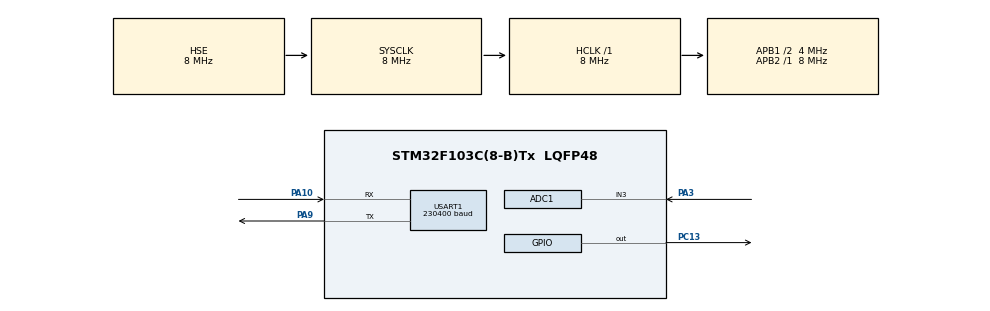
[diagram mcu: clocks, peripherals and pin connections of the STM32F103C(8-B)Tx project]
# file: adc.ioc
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ADC1.Channel-0\#ChannelRegularConversion=ADC_CHANNEL_3
ADC1.ContinuousConvMode=DISABLE
ADC1.ExternalTrigConv=ADC_EXTERNALTRIGCONV_T3_TRGO
ADC1.NbrOfConversion=1
ADC1.NbrOfConversionFlag=1
ADC1.Rank-0\#ChannelRegularConversion=1
ADC1.SamplingTime-0\#ChannelRegularConversion=ADC_SAMPLETIME_71CYCLES_5
ADC1.master=1
Mcu.Family=STM32F1
Mcu.Name=STM32F103C(8-B)Tx
Mcu.Package=LQFP48
NVIC.ADC1_2_IRQn=true\:0\:0\:false\:false\:true\:true\:true\:true
NVIC.PriorityGroup=NVIC_PRIORITYGROUP_4
PA10.Mode=Asynchronous
PA10.Signal=USART1_RX
PA13.Mode=Serial_Wire
PA13.Signal=SYS_JTMS-SWDIO
PA14.Mode=Serial_Wire
PA14.Signal=SYS_JTCK-SWCLK
PA3.Signal=ADCx_IN3
PA9.Mode=Asynchronous
PA9.Signal=USART1_TX
PC13-TAMPER-RTC.Signal=GPIO_Output
PD0-OSC_IN.Mode=HSE-External-Oscillator
PD0-OSC_IN.Signal=RCC_OSC_IN
PD1-OSC_OUT.Mode=HSE-External-Oscillator
PD1-OSC_OUT.Signal=RCC_OSC_OUT
ProjectManager.HeapSize=0x200
ProjectManager.StackSize=0x400
ProjectManager.TargetToolchain=STM32CubeIDE
RCC.ADCPresc=RCC_ADCPCLK2_DIV4
RCC.AHBFreq_Value=8000000
RCC.APB1CLKDivider=RCC_HCLK_DIV2
RCC.APB1Freq_Value=4000000
RCC.APB1TimFreq_Value=8000000
RCC.APB2Freq_Value=8000000
RCC.APB2TimFreq_Value=8000000
RCC.HCLKFreq_Value=8000000
RCC.PLLMUL=RCC_PLL_MUL6
RCC.PLLSourceVirtual=RCC_PLLSOURCE_HSE
RCC.SYSCLKFreq_VALUE=8000000
RCC.SYSCLKSource=RCC_SYSCLKSOURCE_HSE
RCC.USBFreq_Value=32000000
RCC.USBPrescaler=RCC_USBCLKSOURCE_PLL_DIV1_5
SH.ADCx_IN3.0=ADC1_IN3,IN3
TIM3.ClockDivision=TIM_CLOCKDIVISION_DIV1
TIM3.Period=1
TIM3.Prescaler=4000
TIM3.TIM_MasterOutputTrigger=TIM_TRGO_UPDATE
USART1.BaudRate=230400
USART1.VirtualMode=VM_ASYNC
VP_TIM3_VS_ClockSourceINT.Mode=Internal
board=custom

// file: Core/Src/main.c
/* USER CODE BEGIN Header */
/**
  ******************************************************************************
  * @file           : main.c
  * @brief          : Main program body
  ******************************************************************************
  * @attention
  *
  * Copyright (c) 2024 STMicroelectronics.
  * All rights reserved.
  *
  * This software is licensed under terms that can be found in the LICENSE file
  * in the root directory of this software component.
  * If no LICENSE file comes with this software, it is provided AS-IS.
  *
  ******************************************************************************
  */
/* USER CODE END Header */
#include "main.h"

/* USER CODE BEGIN Includes */
#include <string.h>
#include <stdio.h>
/* USER CODE END Includes */

ADC_HandleTypeDef hadc1;

TIM_HandleTypeDef htim3;

UART_HandleTypeDef huart1;

/* USER CODE BEGIN PV */
RCC_PeriphCLKInitTypeDef PeriphClkInit = {0};
/* USER CODE END PV */

void SystemClock_Config(void);
static void MX_GPIO_Init(void);
static void MX_ADC1_Init(void);
static void MX_USART1_UART_Init(void);
static void MX_TIM3_Init(void);

/* USER CODE BEGIN 0 */
uint8_t control_flag = 0;
uint16_t sample[400];
int size = sizeof(sample) / sizeof(uint16_t);
int iter = 0;
int disc_prescaler = 4000;
uint32_t adc_prescaler = 1;
/* USER CODE END 0 */

int main(void)
{

  /* MCU Configuration--------------------------------------------------------*/

  /* Reset of all peripherals, Initializes the Flash interface and the Systick. */
  HAL_Init();

  /* USER CODE BEGIN Init */
  char msg[20];
  char send_sig = 0x55;
  uint8_t received_sig;
  /* USER CODE END Init */

  /* Configure the system clock */
  SystemClock_Config();

  /* Initialize all configured peripherals */
  MX_GPIO_Init();
  MX_ADC1_Init();
  MX_USART1_UART_Init();
  MX_TIM3_Init();
  /* USER CODE BEGIN 2 */
  HAL_RCCEx_GetPeriphCLKConfig(&PeriphClkInit);

  	   // Определение предделителя из структуры PeriphClkInit
  	switch (PeriphClkInit.AdcClockSelection) {
  	   case RCC_ADCPCLK2_DIV2:
  		   adc_prescaler = 2;
  		   break;
  	   case RCC_ADCPCLK2_DIV4:
  		   adc_prescaler = 4;
  		   break;
  	   case RCC_ADCPCLK2_DIV6:
  		   adc_prescaler = 6;
  		   break;
  	   case RCC_ADCPCLK2_DIV8:
  		   adc_prescaler = 8;
  		   break;
  	   default:
  		   // Неизвестный предделитель
  		   break;
  	}

  HAL_TIM_Base_Start(&htim3);
  HAL_ADC_Start_IT(&hadc1);
  /* USER CODE END 2 */

  /* Infinite loop */
  /* USER CODE BEGIN WHILE */
  while (1)
  {
	  HAL_UART_Receive(&huart1, &received_sig, 1, HAL_MAX_DELAY);

	  if (control_flag == 1){
		  if (received_sig == 0xAA){
			  sprintf(msg, "%c\n", send_sig);
			  HAL_UART_Transmit(&huart1, (uint8_t*) msg, strlen(msg), HAL_MAX_DELAY);
			  sprintf(msg, "%lu\n", HAL_RCC_GetPCLK2Freq() / adc_prescaler / disc_prescaler);
			  HAL_UART_Transmit(&huart1, (uint8_t*) msg, strlen(msg), HAL_MAX_DELAY);
			  sprintf(msg, "%d\n", size);
			  HAL_UART_Transmit(&huart1, (uint8_t*) msg, strlen(msg), HAL_MAX_DELAY);
			  for (int i = 0; i < sizeof(sample) / sizeof(uint16_t); ++i){
				  sprintf(msg, "%d ", sample[i]);
				  HAL_UART_Transmit(&huart1, (uint8_t*) msg, strlen(msg), HAL_MAX_DELAY);
			  }
			  sprintf(msg, "\n");
			  HAL_UART_Transmit(&huart1, (uint8_t*) msg, strlen(msg), HAL_MAX_DELAY);
		  }

		  else if (received_sig == 0xCA){
			  disc_prescaler = 8000;
			  MX_TIM3_Init();
		  }

		  else if (received_sig == 0xCB){
			  disc_prescaler = 4000;
			  MX_TIM3_Init();
		  }
		  else if (received_sig == 0xCC){
			  disc_prescaler = 2000;
			  MX_TIM3_Init();
		  }
		  else if (received_sig == 0xCD){
			  disc_prescaler = 1000;
			  MX_TIM3_Init();
		  }
		  else if (received_sig == 0xCE){
			  disc_prescaler = 500;
			  MX_TIM3_Init();
		  }

		  control_flag = 0;
	  }

    /* USER CODE END WHILE */

  }
}

void SystemClock_Config(void)
{
  RCC_OscInitTypeDef RCC_OscInitStruct = {0};
  RCC_ClkInitTypeDef RCC_ClkInitStruct = {0};
  RCC_PeriphCLKInitTypeDef PeriphClkInit = {0};

  /** Initializes the RCC Oscillators according to the specified parameters
  * in the RCC_OscInitTypeDef structure.
  */
  RCC_OscInitStruct.OscillatorType = RCC_OSCILLATORTYPE_HSE;
  RCC_OscInitStruct.HSEState = RCC_HSE_ON;
  RCC_OscInitStruct.PLL.PLLState = RCC_PLL_NONE;
  if (HAL_RCC_OscConfig(&RCC_OscInitStruct) != HAL_OK)
  {
    Error_Handler();
  }

  /** Initializes the CPU, AHB and APB buses clocks
  */
  RCC_ClkInitStruct.ClockType = RCC_CLOCKTYPE_HCLK|RCC_CLOCKTYPE_SYSCLK
                              |RCC_CLOCKTYPE_PCLK1|RCC_CLOCKTYPE_PCLK2;
  RCC_ClkInitStruct.SYSCLKSource = RCC_SYSCLKSOURCE_HSE;
  RCC_ClkInitStruct.AHBCLKDivider = RCC_SYSCLK_DIV1;
  RCC_ClkInitStruct.APB1CLKDivider = RCC_HCLK_DIV2;
  RCC_ClkInitStruct.APB2CLKDivider = RCC_HCLK_DIV1;

  if (HAL_RCC_ClockConfig(&RCC_ClkInitStruct, FLASH_LATENCY_0) != HAL_OK)
  {
    Error_Handler();
  }
  PeriphClkInit.PeriphClockSelection = RCC_PERIPHCLK_ADC;
  PeriphClkInit.AdcClockSelection = RCC_ADCPCLK2_DIV4;
  if (HAL_RCCEx_PeriphCLKConfig(&PeriphClkInit) != HAL_OK)
  {
    Error_Handler();
  }
}

static void MX_ADC1_Init(void)
{

  ADC_ChannelConfTypeDef sConfig = {0};

  /** Common config
  */
  hadc1.Instance = ADC1;
  hadc1.Init.ScanConvMode = ADC_SCAN_DISABLE;
  hadc1.Init.ContinuousConvMode = DISABLE;
  hadc1.Init.DiscontinuousConvMode = DISABLE;
  hadc1.Init.ExternalTrigConv = ADC_EXTERNALTRIGCONV_T3_TRGO;
  hadc1.Init.DataAlign = ADC_DATAALIGN_RIGHT;
  hadc1.Init.NbrOfConversion = 1;
  if (HAL_ADC_Init(&hadc1) != HAL_OK)
  {
    Error_Handler();
  }

  /** Configure Regular Channel
  */
  sConfig.Channel = ADC_CHANNEL_3;
  sConfig.Rank = ADC_REGULAR_RANK_1;
  sConfig.SamplingTime = ADC_SAMPLETIME_71CYCLES_5;
  if (HAL_ADC_ConfigChannel(&hadc1, &sConfig) != HAL_OK)
  {
    Error_Handler();
  }

}

static void MX_TIM3_Init(void)
{

  TIM_ClockConfigTypeDef sClockSourceConfig = {0};
  TIM_MasterConfigTypeDef sMasterConfig = {0};

  htim3.Instance = TIM3;
  htim3.Init.Prescaler = 4000;
  htim3.Init.CounterMode = TIM_COUNTERMODE_UP;
  htim3.Init.Period = 1;
  htim3.Init.ClockDivision = TIM_CLOCKDIVISION_DIV1;
  htim3.Init.AutoReloadPreload = TIM_AUTORELOAD_PRELOAD_DISABLE;
  if (HAL_TIM_Base_Init(&htim3) != HAL_OK)
  {
    Error_Handler();
  }
  sClockSourceConfig.ClockSource = TIM_CLOCKSOURCE_INTERNAL;
  if (HAL_TIM_ConfigClockSource(&htim3, &sClockSourceConfig) != HAL_OK)
  {
    Error_Handler();
  }
  sMasterConfig.MasterOutputTrigger = TIM_TRGO_UPDATE;
  sMasterConfig.MasterSlaveMode = TIM_MASTERSLAVEMODE_DISABLE;
  if (HAL_TIMEx_MasterConfigSynchronization(&htim3, &sMasterConfig) != HAL_OK)
  {
    Error_Handler();
  }
  /* USER CODE BEGIN TIM3_Init 2 */
  htim3.Init.Prescaler = disc_prescaler;
  if (HAL_TIM_Base_Init(&htim3) != HAL_OK)
  {
	Error_Handler();
  }
  /* USER CODE END TIM3_Init 2 */

}

static void MX_USART1_UART_Init(void)
{

  huart1.Instance = USART1;
  huart1.Init.BaudRate = 230400;
  huart1.Init.WordLength = UART_WORDLENGTH_8B;
  huart1.Init.StopBits = UART_STOPBITS_1;
  huart1.Init.Parity = UART_PARITY_NONE;
  huart1.Init.Mode = UART_MODE_TX_RX;
  huart1.Init.HwFlowCtl = UART_HWCONTROL_NONE;
  huart1.Init.OverSampling = UART_OVERSAMPLING_16;
  if (HAL_UART_Init(&huart1) != HAL_OK)
  {
    Error_Handler();
  }

}

static void MX_GPIO_Init(void)
{
  GPIO_InitTypeDef GPIO_InitStruct = {0};

  /* GPIO Ports Clock Enable */
  __HAL_RCC_GPIOC_CLK_ENABLE();
  __HAL_RCC_GPIOD_CLK_ENABLE();
  __HAL_RCC_GPIOA_CLK_ENABLE();

  /*Configure GPIO pin Output Level */
  HAL_GPIO_WritePin(GPIOC, GPIO_PIN_13, GPIO_PIN_RESET);

  /*Configure GPIO pin : PC13 */
  GPIO_InitStruct.Pin = GPIO_PIN_13;
  GPIO_InitStruct.Mode = GPIO_MODE_OUTPUT_PP;
  GPIO_InitStruct.Pull = GPIO_NOPULL;
  GPIO_InitStruct.Speed = GPIO_SPEED_FREQ_LOW;
  HAL_GPIO_Init(GPIOC, &GPIO_InitStruct);

}

/* USER CODE BEGIN 4 */
	void ADC_IRQHandler(void) {
		HAL_ADC_IRQHandler(&hadc1);
	}

	void HAL_ADC_ConvCpltCallback(ADC_HandleTypeDef* hadc) {
//		uint8_t received_sig;
//		HAL_UART_Receive(&huart1, &received_sig, 1, HAL_MAX_DELAY);
//		if (received_sig == 0xAA){
		if (control_flag == 0){
			HAL_GPIO_TogglePin(GPIOC, GPIO_PIN_13);
//			char msg[20];
			uint16_t regValue;
//			char send_sig = 0x55;
			regValue = HAL_ADC_GetValue(&hadc1);
			sample[iter] = regValue;
			iter++;
			if (iter == sizeof(sample)/sizeof(uint16_t)){
				iter = 0;
				control_flag = 1;
			}
//			sprintf(msg, "%c\n", send_sig);
//			HAL_UART_Transmit(&huart1, (uint8_t*) msg, strlen(msg), HAL_MAX_DELAY);
//			sprintf(msg, "RegValue: %hu\n", regValue);
//			HAL_UART_Transmit(&huart1, (uint8_t*) msg, strlen(msg), HAL_MAX_DELAY);
//			sprintf(msg, "Voltage: %.3f\n\n", voltage);
//			HAL_UART_Transmit(&huart1, (uint8_t*) msg, strlen(msg), HAL_MAX_DELAY);
//		}
		}
	}
/* USER CODE END 4 */

void Error_Handler(void)
{
  __disable_irq();
  while (1)
  {
  }
}
